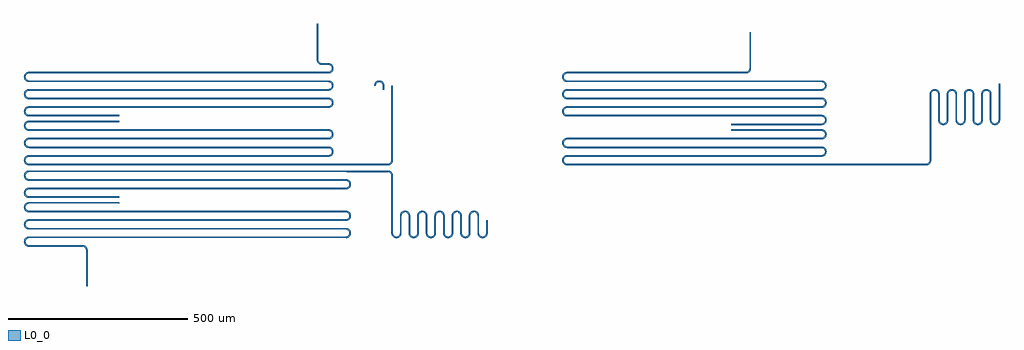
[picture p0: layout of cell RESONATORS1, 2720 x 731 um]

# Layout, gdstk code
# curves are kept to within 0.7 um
import gdstk
lib = gdstk.Library(unit=1e-6, precision=1e-09)
def P(c, l, *ps):  # polygons
    for p in ps: c.add(gdstk.Polygon(p, *l))
L0_0 = (0, 0)

resonators1 = lib.new_cell('RESONATORS1')
P(resonators1, L0_0, [(2322,2752),(2321.032,2757.115),(2318.263,2761.522),(2314.074,2764.614),(2308,2766),(2302.885,2765.032),(2298.478,2762.263),(2295.386,2758.074),(2294,2752),(2298,2752),(2299.34,2757),(2301.198,2759.331),(2303.661,2761.01),(2308,2762),(2312.339,2761.01),(2315.818,2758.235),(2317.749,2754.225),(2318,2739.726),(2322,2739.726)],
  [(1325.926,2632.063),(1322.99,2635.661),(1322,2640),(1322.99,2644.339),(1325.926,2647.937),(1325.926,2652.614),(1322.478,2650.263),(1319.876,2647),(1318.622,2644.127),(1318,2640),(1318.968,2634.885),(1321.737,2630.478),(1325.926,2627.386)],
  [(1325.926,2584.063),(1322.99,2587.661),(1322,2592),(1322.99,2596.339),(1325.926,2599.937),(1325.926,2604.614),(1322.478,2602.263),(1319.876,2599),(1318.622,2596.127),(1318,2592),(1318.968,2586.885),(1321.737,2582.478),(1325.926,2579.386)],
  [(1325.926,2536.063),(1322.99,2539.661),(1322,2544),(1322.99,2548.339),(1325.926,2551.937),(1325.926,2556.614),(1322.478,2554.263),(1319.876,2551),(1318.622,2548.127),(1318,2544),(1318.968,2538.885),(1321.737,2534.478),(1325.926,2531.386)],
  [(1326.367,2648.262),(1329.052,2649.556),(1332,2650),(1584,2650),(1584,2654),(1332,2654),(1325.926,2652.614),(1325.926,2647.937)],
  [(2172.072,2628.806),(2166.439,2630),(1332,2630),(1329.052,2630.444),(1325.926,2632.063),(1325.926,2627.386),(1332,2626),(2166.439,2626),(2169.387,2625.556),(2172.072,2624.262)],
  [(1326.367,2600.262),(1329.052,2601.556),(1332,2602),(2166.439,2602),(2172.072,2603.194),(2172.072,2607.738),(2169.387,2606.444),(2166.439,2606),(1332,2606),(1325.926,2604.614),(1325.926,2599.937)],
  [(2172.072,2580.806),(2166.439,2582),(1332,2582),(1329.052,2582.444),(1325.926,2584.063),(1325.926,2579.386),(1332,2578),(2166.439,2578),(2169.387,2577.556),(2172.072,2576.262)],
  [(1326.367,2552.262),(1329.052,2553.556),(1332,2554),(2166.439,2554),(2172.072,2555.194),(2172.072,2559.738),(2169.387,2558.444),(2166.439,2558),(1332,2558),(1325.926,2556.614),(1325.926,2551.937)],
  [(2172.072,2534),(1332,2534),(1329.052,2534.444),(1325.926,2536.063),(1325.926,2531.386),(1332,2530),(2172.072,2530)],
  [(2333.046,2530.039),(2338.074,2531.386),(2341.522,2533.737),(2344.614,2537.926),(2345.961,2542.954),(2346,2752),(2342,2752),(2342,2544),(2341.556,2541.052),(2339.818,2537.765),(2336.339,2534.99),(2332,2534),(2172.072,2534),(2172.072,2530)],
  [(2172.514,2603.386),(2175.962,2605.737),(2178.564,2609),(2179.817,2611.873),(2180.439,2616),(2179.817,2620.127),(2178.006,2623.886),(2175.168,2626.946),(2172.072,2628.806),(2172.072,2624.262),(2175.449,2620.339),(2176.439,2616),(2175.449,2611.661),(2172.072,2607.738),(2172.072,2603.194)],
  [(2172.514,2555.386),(2175.962,2557.737),(2178.564,2561),(2179.817,2563.873),(2180.439,2568),(2179.817,2572.127),(2178.006,2575.886),(2175.168,2578.946),(2172.072,2580.806),(2172.072,2576.262),(2175.449,2572.339),(2176.439,2568),(2175.449,2563.661),(2172.072,2559.738),(2172.072,2555.194)],
  [(1327.661,2766.99),(1325.198,2768.669),(1323.34,2771),(1322,2776),(1323.34,2781),(1325.198,2783.331),(1327.661,2785.01),(1327.661,2789.304),(1323.271,2786.946),(1320.433,2783.886),(1318.622,2780.127),(1318,2776),(1318.351,2772.885),(1319.386,2769.926),(1322.478,2765.737),(1327.661,2762.696)],
  [(1327.661,2718.99),(1325.198,2720.669),(1323.34,2723),(1322,2728),(1323.34,2733),(1325.198,2735.331),(1327.661,2737.01),(1327.661,2741.304),(1323.271,2738.946),(1320.433,2735.886),(1318.622,2732.127),(1318,2728),(1318.351,2724.885),(1319.386,2721.926),(1322.478,2717.737),(1327.661,2714.696)],
  [(1327.661,2670.99),(1325.198,2672.669),(1323.34,2675),(1322,2680),(1323.34,2685),(1325.198,2687.331),(1327.661,2689.01),(1327.661,2693.304),(1323.271,2690.946),(1320.433,2687.886),(1318.622,2684.127),(1318,2680),(1318.351,2676.885),(1319.386,2673.926),(1322.478,2669.737),(1327.661,2666.696)],
  [(2170.778,2813.304),(2167.485,2813.961),(2145.777,2814.251),(2141.2,2816.669),(2138.446,2821.052),(2138.002,2824),(2138.002,2924),(2134.002,2924),(2134.002,2824),(2134.624,2819.873),(2136.435,2816.114),(2139.273,2813.054),(2141.928,2811.386),(2145.916,2810.156),(2167.186,2809.972),(2170.778,2809.01)],
  [(1328.347,2785.309),(1332,2786),(2166.439,2786),(2170.778,2786.696),(2170.778,2790.99),(2166.439,2790),(1332,2790),(1327.661,2789.304),(1327.661,2785.01)],
  [(2170.778,2765.304),(2166.439,2766),(1332,2766),(1327.661,2766.99),(1327.661,2762.696),(1332,2762),(2166.439,2762),(2170.778,2761.01)],
  [(1327.873,2737.102),(1332,2738),(2166.439,2738),(2170.778,2738.696),(2170.778,2742.99),(2166.439,2742),(1332,2742),(1327.661,2741.304)],
  [(2170.778,2717.304),(2166.439,2718),(1332,2718),(1327.661,2718.99),(1327.661,2714.696),(1332,2714),(2166.439,2714),(2170.778,2713.01)],
  [(1327.873,2689.102),(1332,2690),(2166.439,2690),(2170.778,2690.696),(2170.778,2694.99),(2166.439,2694),(1332,2694),(1327.661,2693.304)],
  [(1584,2670),(1332,2670),(1327.661,2670.99),(1327.661,2666.696),(1332,2666),(1584,2666)],
  [(2171.554,2786.968),(2175.168,2789.054),(2178.006,2792.114),(2179.817,2795.873),(2180.439,2800),(2179.817,2804.127),(2178.006,2807.886),(2175.168,2810.946),(2170.778,2813.304),(2170.778,2809.01),(2174.702,2805.633),(2175.995,2802.948),(2176.439,2800),(2175.995,2797.052),(2174.702,2794.367),(2170.778,2790.99),(2170.778,2786.696)],
  [(2171.554,2738.968),(2175.168,2741.054),(2178.006,2744.114),(2179.817,2747.873),(2180.439,2752),(2179.817,2756.127),(2178.006,2759.886),(2175.168,2762.946),(2170.778,2765.304),(2170.778,2761.01),(2174.702,2757.633),(2175.995,2754.948),(2176.439,2752),(2175.995,2749.052),(2174.702,2746.367),(2170.778,2742.99),(2170.778,2738.696)],
  [(2171.554,2690.968),(2175.168,2693.054),(2178.006,2696.114),(2179.817,2699.873),(2180.439,2704),(2179.817,2708.127),(2178.006,2711.886),(2175.168,2714.946),(2170.778,2717.304),(2170.778,2713.01),(2174.702,2709.633),(2175.995,2706.948),(2176.439,2704),(2175.995,2701.052),(2174.702,2698.367),(2170.778,2694.99),(2170.778,2690.696)],
  [(2217.082,2463.156),(1331.253,2462.972),(1327.661,2462.01),(1324.669,2459.802),(1322.691,2456.653),(1322,2453),(1322.691,2449.347),(1324.669,2446.198),(1327.661,2443.99),(1331.253,2443.028),(1584,2443),(1584,2439),(1330.954,2439.039),(1325.926,2440.386),(1321.737,2443.478),(1318.968,2447.885),(1318,2453),(1318.968,2458.115),(1321.737,2462.522),(1325.926,2465.614),(1332,2467),(2217.082,2467.225)],
  [(2217.082,2511),(1332,2511),(1328.347,2510.309),(1325.198,2508.331),(1322.99,2505.339),(1322,2501),(1322.691,2497.347),(1324.669,2494.198),(1327.661,2491.99),(1332,2491),(2214.996,2491),(2217.082,2490.844),(2217.082,2486.775),(1332,2487),(1326.885,2487.968),(1322.478,2490.737),(1319.386,2494.926),(1318,2501),(1318.968,2506.115),(1321.737,2510.522),(1325.926,2513.614),(1332,2515),(2217.082,2515)],
  [(2333.046,2514.961),(2338.074,2513.614),(2341.522,2511.263),(2344.614,2507.074),(2345.844,2503.087),(2346.028,2340.253),(2347.34,2336),(2350.885,2332.412),(2355.253,2331.028),(2359.653,2331.691),(2359.653,2327.495),(2358.087,2327.156),(2351.873,2327.622),(2347.271,2330.054),(2343.386,2334.926),(2342.039,2339.954),(2342,2501),(2341.556,2503.948),(2339.818,2507.235),(2336.339,2510.01),(2332,2511),(2217.082,2511),(2217.082,2515)],
  [(2217.943,2490.681),(2221.996,2489.124),(2225.942,2485.729),(2228.374,2481.127),(2228.996,2477),(2228.374,2472.873),(2225.942,2468.271),(2221.996,2464.876),(2217.082,2463.156),(2217.082,2467.225),(2219.996,2468.34),(2222.814,2470.765),(2224.552,2474.052),(2224.996,2477),(2224.552,2479.948),(2222.814,2483.235),(2219.996,2485.66),(2217.082,2486.775),(2217.082,2490.844)],
  [(2381.046,2402.961),(2385.115,2402.032),(2388.729,2399.946),(2392.124,2396),(2393.649,2392.115),(2394,2341),(2394.691,2337.347),(2397.198,2333.669),(2401.052,2331.444),(2405.49,2331.112),(2409.115,2332.412),(2409.115,2327.968),(2402.954,2327.039),(2397.926,2328.386),(2393.737,2331.478),(2390.968,2335.885),(2390,2341),(2389.888,2390.49),(2389.01,2393.339),(2386.802,2396.331),(2383.653,2398.309),(2380,2399),(2377.052,2398.556),(2373.765,2396.818),(2371.738,2394.633),(2370.444,2391.948),(2370,2389),(2369.844,2338.913),(2368.614,2334.926),(2366.263,2331.478),(2363,2328.876),(2359.653,2327.495),(2359.653,2331.691),(2363.818,2334.765),(2365.309,2337.347),(2365.972,2340.253),(2366,2389),(2366.622,2393.127),(2369.054,2397.729),(2372.114,2400.567),(2375.873,2402.378)],
  [(2429.046,2402.961),(2433.115,2402.032),(2436.729,2399.946),(2440.124,2396),(2441.649,2392.115),(2442,2341),(2442.691,2337.347),(2445.765,2333.182),(2450.51,2331.112),(2455.653,2331.691),(2459.818,2334.765),(2459.818,2329.39),(2457.115,2327.968),(2450.954,2327.039),(2445.926,2328.386),(2441.737,2331.478),(2438.968,2335.885),(2438,2341),(2437.888,2390.49),(2437.01,2393.339),(2434.802,2396.331),(2431.653,2398.309),(2428,2399),(2425.052,2398.556),(2421.765,2396.818),(2419.34,2394),(2418.251,2391.225),(2417.844,2338.913),(2416.614,2334.926),(2414.946,2332.271),(2412.729,2330.054),(2409.115,2327.968),(2409.115,2332.412),(2412.66,2336),(2413.972,2340.253),(2414.351,2392.115),(2415.876,2396),(2419.271,2399.946),(2423.873,2402.378)],
  [(2477.046,2402.961),(2481.115,2402.032),(2484.729,2399.946),(2488.124,2396),(2489.649,2392.115),(2490,2341),(2490.691,2337.347),(2492.182,2334.765),(2494.367,2332.738),(2497.052,2331.444),(2500,2331),(2502.948,2331.444),(2505.633,2332.738),(2507.818,2334.765),(2509.522,2337.955),(2509.522,2330.737),(2505.115,2327.968),(2498.954,2327.039),(2493.926,2328.386),(2489.737,2331.478),(2486.968,2335.885),(2486,2341),(2485.888,2390.49),(2485.01,2393.339),(2482.802,2396.331),(2479.653,2398.309),(2476,2399),(2473.052,2398.556),(2469.765,2396.818),(2467.34,2394),(2466.251,2391.225),(2465.961,2339.954),(2464.124,2334),(2459.818,2329.39),(2459.818,2334.765),(2461.309,2337.347),(2461.972,2340.253),(2462.351,2392.115),(2463.876,2396),(2467.271,2399.946),(2471.873,2402.378)],
  [(2525.046,2402.961),(2529.115,2402.032),(2532.729,2399.946),(2535.567,2396.886),(2537.378,2393.127),(2538,2389),(2538.112,2339.51),(2538.99,2336.661),(2540.182,2334.765),(2541.765,2333.182),(2544.347,2331.691),(2548,2331),(2552.339,2331.99),(2555.818,2334.765),(2557.749,2338.775),(2558.156,2391.087),(2558.156,2331.371),(2555.886,2329.433),(2553.115,2327.968),(2550.087,2327.156),(2546.954,2327.039),(2541.926,2328.386),(2537.737,2331.478),(2534.968,2335.885),(2534,2341),(2533.888,2390.49),(2533.01,2393.339),(2530.802,2396.331),(2528.339,2398.01),(2524.747,2398.972),(2521.052,2398.556),(2517.765,2396.818),(2515.34,2394),(2514.251,2391.225),(2513.961,2339.954),(2512.614,2334.926),(2509.522,2330.737),(2509.522,2337.955),(2510,2341),(2510,2389),(2510.351,2392.115),(2511.876,2396),(2515.271,2399.946),(2519.873,2402.378)],
  [(2573.046,2402.961),(2577.115,2402.032),(2580.729,2399.946),(2584.124,2396),(2585.649,2392.115),(2586.028,2340.253),(2587.34,2336),(2590.367,2332.738),(2594.51,2331.112),(2598.948,2331.444),(2602.802,2333.669),(2605.01,2336.661),(2606,2341),(2606,2376.885),(2610,2376.885),(2609.844,2338.913),(2608.614,2334.926),(2606.946,2332.271),(2604.729,2330.054),(2601.115,2327.968),(2594.954,2327.039),(2589.926,2328.386),(2585.737,2331.478),(2582.968,2335.885),(2582,2341),(2581.888,2390.49),(2581.01,2393.339),(2578.802,2396.331),(2576.339,2398.01),(2572.747,2398.972),(2569.052,2398.556),(2565.765,2396.818),(2563.34,2394),(2562.251,2391.225),(2561.961,2339.954),(2560.614,2334.926),(2558.156,2331.371),(2558.351,2392.115),(2559.876,2396),(2563.271,2399.946),(2567.873,2402.378)],
  [(1325.765,2324.818),(1322.99,2321.339),(1322,2317),(1322.99,2312.661),(1325.765,2309.182),(1325.765,2304.471),(1322.478,2306.737),(1319.876,2310),(1318.622,2312.873),(1318,2317),(1318.968,2322.115),(1321.737,2326.522),(1325.765,2329.529)],
  [(1325.765,2372.818),(1322.99,2369.339),(1322,2365),(1322.99,2360.661),(1325.765,2357.182),(1325.765,2352.471),(1322.478,2354.737),(1319.876,2358),(1318.622,2360.873),(1318,2365),(1318.968,2370.115),(1321.737,2374.522),(1325.765,2377.529)],
  [(1325.765,2420.818),(1322.99,2417.339),(1322,2413),(1322.99,2408.661),(1325.765,2405.182),(1325.765,2400.471),(1322.478,2402.737),(1319.876,2406),(1318.622,2408.873),(1318,2413),(1318.968,2418.115),(1321.737,2422.522),(1325.765,2425.529)],
  [(1326.367,2308.738),(1329.052,2307.444),(1332,2307),(1481.185,2307),(1485.312,2306.378),(1489.072,2304.567),(1493.31,2300),(1495.146,2294.046),(1495.185,2193),(1491.185,2193),(1491.157,2293.747),(1489.845,2298),(1486.818,2301.262),(1484.133,2302.556),(1481.185,2303),(1330.954,2303.039),(1325.765,2304.471),(1325.765,2309.182)],
  [(2216.042,2327.039),(1332,2327),(1329.052,2326.556),(1325.765,2324.818),(1325.765,2329.529),(1332,2331),(2216.042,2331.062)],
  [(1326.367,2356.738),(1329.052,2355.444),(1332,2355),(2214.996,2355),(2216.042,2354.961),(2216.042,2350.938),(1332,2351),(1325.765,2352.471),(1325.765,2357.182)],
  [(2216.042,2375.039),(1332,2375),(1329.052,2374.556),(1325.765,2372.818),(1325.765,2377.529),(1332,2379),(2216.042,2379.062)],
  [(1326.367,2404.738),(1329.052,2403.444),(1332,2403),(2214.996,2403),(2216.042,2402.961),(2216.042,2398.938),(1332,2399),(1325.765,2400.471),(1325.765,2405.182)],
  [(1584,2423),(1332,2423),(1329.052,2422.556),(1325.765,2420.818),(1325.765,2425.529),(1332,2427),(1584,2427)],
  [(2217.082,2354.844),(2221.996,2353.124),(2225.942,2349.729),(2228.374,2345.127),(2228.957,2339.954),(2228.028,2335.885),(2225.259,2331.478),(2221.07,2328.386),(2216.042,2327.039),(2216.042,2331.062),(2219.335,2331.99),(2222.326,2334.198),(2224.305,2337.347),(2224.996,2341),(2224.305,2344.653),(2222.326,2347.802),(2219.335,2350.01),(2216.042,2350.938),(2216.042,2354.961)],
  [(2217.082,2402.844),(2221.996,2401.124),(2225.942,2397.729),(2228.374,2393.127),(2228.957,2387.954),(2228.028,2383.885),(2225.259,2379.478),(2221.07,2376.386),(2216.042,2375.039),(2216.042,2379.062),(2219.335,2379.99),(2222.326,2382.198),(2224.305,2385.347),(2224.996,2389),(2224.305,2392.653),(2222.326,2395.802),(2219.335,2398.01),(2216.042,2398.938),(2216.042,2402.961)],
  [(3541.361,2629.972),(3540.614,2630),(3288.614,2630),(3288.614,2626),(3540.614,2626),(3541.361,2625.972)],
  [(3541.361,2581.972),(2832,2582),(2828.347,2582.691),(2825.198,2584.669),(2822.99,2587.661),(2822,2592),(2822.691,2595.653),(2824.669,2598.802),(2827.661,2601.01),(2832,2602),(3540.614,2602),(3541.361,2602.028),(3541.361,2606.028),(2832,2606),(2826.885,2605.032),(2822.478,2602.263),(2819.386,2598.074),(2818,2592),(2818.968,2586.885),(2821.737,2582.478),(2825.926,2579.386),(2832,2578),(3541.361,2577.972)],
  [(3541.361,2534),(2832,2534),(2828.347,2534.691),(2825.198,2536.669),(2822.99,2539.661),(2822,2544),(2822.691,2547.653),(2824.669,2550.802),(2827.661,2553.01),(2832,2554),(3540.614,2554),(3541.361,2554.028),(3541.361,2558.028),(2832,2558),(2826.885,2557.032),(2822.478,2554.263),(2819.386,2550.074),(2818,2544),(2818.968,2538.885),(2821.737,2534.478),(2825.926,2531.386),(2832,2530),(3541.361,2530)],
  [(3541.66,2602.039),(3546.688,2603.386),(3550.876,2606.478),(3553.646,2610.885),(3554.614,2616),(3553.646,2621.115),(3550.876,2625.522),(3546.688,2628.614),(3541.361,2629.972),(3541.361,2625.972),(3544.952,2625.01),(3547.944,2622.802),(3549.922,2619.653),(3550.614,2616),(3549.922,2612.347),(3547.944,2609.198),(3544.952,2606.99),(3541.361,2606.028)],
  [(3541.66,2554.039),(3546.688,2555.386),(3550.876,2558.478),(3553.646,2562.885),(3554.614,2568),(3553.646,2573.115),(3550.876,2577.522),(3546.688,2580.614),(3541.361,2581.972),(3541.361,2577.972),(3544.952,2577.01),(3547.944,2574.802),(3549.922,2571.653),(3550.614,2568),(3549.922,2564.347),(3547.944,2561.198),(3544.952,2558.99),(3541.361,2558.028)],
  [(3833.046,2530.039),(3839,2531.876),(3839,2536.867),(3835.653,2534.691),(3832,2534),(3541.361,2534),(3541.361,2530)],
  [(3839.818,2532.39),(3844.124,2537),(3845.378,2539.873),(3846,2544),(3846,2728),(3846.691,2731.653),(3848.182,2734.235),(3850.367,2736.262),(3853.052,2737.556),(3856,2738),(3861,2736.66),(3863.331,2734.802),(3865.01,2732.339),(3866,2728),(3866.351,2652.885),(3869.054,2647.271),(3871.271,2645.054),(3874.885,2642.968),(3881.046,2642.039),(3884.127,2642.622),(3887.331,2644.084),(3887.331,2649.198),(3882.948,2646.444),(3877.775,2646.251),(3873.198,2648.669),(3870.444,2653.052),(3870,2656),(3869.844,2730.087),(3868.614,2734.074),(3865.522,2738.263),(3862.074,2740.614),(3857.046,2741.961),(3851.873,2741.378),(3847.271,2738.946),(3843.386,2734.074),(3842.039,2729.046),(3842,2544),(3841.309,2540.347),(3839,2536.867),(3839,2531.876)],
  [(3888.729,2645.054),(3892.614,2649.926),(3893.961,2654.954),(3894.112,2729.49),(3894.99,2732.339),(3897.198,2735.331),(3900.347,2737.309),(3904,2738),(3907.653,2737.309),(3910.802,2735.331),(3913.01,2732.339),(3913.888,2729.49),(3914,2656),(3914.968,2650.885),(3917.054,2647.271),(3919.271,2645.054),(3924.885,2642.351),(3931.115,2642.351),(3934.074,2643.386),(3937.01,2645.296),(3937.01,2651.661),(3935.331,2649.198),(3933,2647.34),(3930.225,2646.251),(3927.253,2646.028),(3924.347,2646.691),(3921.765,2648.182),(3919.738,2650.367),(3918.444,2653.052),(3918,2656),(3917.844,2730.087),(3916.614,2734.074),(3914.263,2737.522),(3910.074,2740.614),(3906.087,2741.844),(3900.885,2741.649),(3895.34,2738.997),(3891.876,2735),(3890.156,2730.087),(3890,2656),(3889.309,2652.347),(3887.331,2649.198),(3887.331,2644.084)],
  [(3937.522,2645.737),(3940.614,2649.926),(3941.961,2654.954),(3942.112,2729.49),(3942.99,2732.339),(3945.198,2735.331),(3948.347,2737.309),(3952,2738),(3955.653,2737.309),(3958.802,2735.331),(3961.01,2732.339),(3961.888,2729.49),(3962,2656),(3962.968,2650.885),(3965.054,2647.271),(3967.271,2645.054),(3969.926,2643.386),(3973.913,2642.156),(3977.046,2642.039),(3980.127,2642.622),(3983,2643.876),(3986.263,2646.478),(3986.263,2730.651),(3985.888,2654.51),(3984.66,2651),(3982.235,2648.182),(3978.948,2646.444),(3975.253,2646.028),(3971.661,2646.99),(3969.198,2648.669),(3966.99,2651.661),(3966.112,2654.51),(3966,2728),(3965.032,2733.115),(3962.946,2736.729),(3960.729,2738.946),(3957.115,2741.032),(3953.046,2741.961),(3949.913,2741.844),(3945.926,2740.614),(3942.478,2738.263),(3939.876,2735),(3938.622,2732.127),(3938,2728),(3938,2656),(3937.01,2651.661),(3937.01,2645.296)],
  [(3986.946,2647.271),(3989.032,2650.885),(3989.961,2654.954),(3990.112,2729.49),(3990.99,2732.339),(3993.198,2735.331),(3995.661,2737.01),(3999.253,2737.972),(4002.948,2737.556),(4006.235,2735.818),(4008.66,2733),(4009.888,2729.49),(4010,2656),(4010.968,2650.885),(4013.054,2647.271),(4015.271,2645.054),(4018.885,2642.968),(4022.954,2642.039),(4027.115,2642.351),(4031,2643.876),(4034.263,2646.478),(4036.614,2649.926),(4038,2656),(4038,2756.982),(4034,2756.982),(4034,2656),(4033.01,2651.661),(4031.331,2649.198),(4029,2647.34),(4024,2646),(4021.052,2646.444),(4018.367,2647.738),(4016.182,2649.765),(4014.691,2652.347),(4014,2656),(4013.844,2730.087),(4012.124,2735),(4008.729,2738.946),(4004.127,2741.378),(3998.954,2741.961),(3993.926,2740.614),(3990.478,2738.263),(3987.876,2735),(3986.263,2730.651),(3986.263,2646.478)],
  [(2827.661,2766.99),(2823.737,2770.367),(2822.444,2773.052),(2822,2776),(2822.444,2778.948),(2823.737,2781.633),(2827.661,2785.01),(2827.661,2789.304),(2823.271,2786.946),(2820.432,2783.886),(2818.622,2780.127),(2818,2776),(2818.351,2772.885),(2819.386,2769.926),(2822.477,2765.737),(2827.661,2762.696)],
  [(2827.661,2718.99),(2823.737,2722.367),(2822.444,2725.052),(2822,2728),(2822.444,2730.948),(2823.737,2733.633),(2827.661,2737.01),(2827.661,2741.304),(2823.271,2738.946),(2820.432,2735.886),(2818.622,2732.127),(2818,2728),(2818.351,2724.885),(2819.386,2721.926),(2822.477,2717.737),(2827.661,2714.696)],
  [(2827.661,2670.99),(2823.737,2674.367),(2822.444,2677.052),(2822,2680),(2822.444,2682.948),(2823.737,2685.633),(2827.661,2689.01),(2827.661,2693.304),(2823.271,2690.946),(2820.432,2687.886),(2818.622,2684.127),(2818,2680),(2818.351,2676.885),(2819.386,2673.926),(2822.477,2669.737),(2827.661,2666.696)],
  [(2828.346,2785.309),(2832,2786),(3333.065,2786.351),(3336.95,2787.876),(3340.895,2791.271),(3342.982,2794.885),(3343.91,2798.954),(3343.95,2900),(3339.95,2900),(3339.922,2799.253),(3339.258,2796.347),(3337.768,2793.765),(3334.95,2791.34),(3332.175,2790.251),(2832,2790),(2827.661,2789.304),(2827.661,2785.01)],
  [(3544.952,2765.304),(3540.613,2766),(2832,2766),(2827.661,2766.99),(2827.661,2762.696),(2832,2762),(3540.613,2762),(3544.952,2761.01)],
  [(2828.346,2737.309),(2832,2738),(3540.613,2738),(3544.952,2738.696),(3544.952,2742.99),(3540.613,2742),(2832,2742),(2827.661,2741.304),(2827.661,2737.01)],
  [(3544.952,2717.304),(3540.613,2718),(2832,2718),(2827.661,2718.99),(2827.661,2714.696),(2832,2714),(3540.613,2714),(3544.952,2713.01)],
  [(2828.346,2689.309),(2832,2690),(3540.613,2690),(3544.952,2690.696),(3544.952,2694.99),(3540.613,2694),(2832,2694),(2827.661,2693.304),(2827.661,2689.01)],
  [(3544.952,2669.304),(3540.613,2670),(2832,2670),(2827.661,2670.99),(2827.661,2666.696),(2832,2666),(3540.613,2666),(3544.952,2665.01)],
  [(3541.66,2642.039),(3544.952,2642.696),(3544.952,2646.99),(3540.613,2646),(3288.613,2646),(3288.613,2642)],
  [(3545.728,2738.968),(3549.342,2741.054),(3552.181,2744.114),(3553.991,2747.873),(3554.613,2752),(3553.991,2756.127),(3552.181,2759.886),(3549.342,2762.946),(3544.952,2765.304),(3544.952,2761.01),(3547.415,2759.331),(3549.274,2757),(3550.613,2752),(3549.274,2747),(3547.415,2744.669),(3544.952,2742.99),(3544.952,2738.696)],
  [(3545.728,2690.968),(3549.342,2693.054),(3552.181,2696.114),(3553.991,2699.873),(3554.613,2704),(3553.991,2708.127),(3552.181,2711.886),(3549.342,2714.946),(3544.952,2717.304),(3544.952,2713.01),(3547.415,2711.331),(3549.274,2709),(3550.613,2704),(3549.274,2699),(3547.415,2696.669),(3544.952,2694.99),(3544.952,2690.696)],
  [(3545.728,2642.968),(3549.342,2645.054),(3552.181,2648.114),(3553.991,2651.873),(3554.613,2656),(3553.991,2660.127),(3552.181,2663.886),(3549.342,2666.946),(3544.952,2669.304),(3544.952,2665.01),(3547.415,2663.331),(3549.274,2661),(3550.613,2656),(3549.274,2651),(3547.415,2648.669),(3544.952,2646.99),(3544.952,2642.696)])

lib.write_gds('RESONATORS1.gds')
